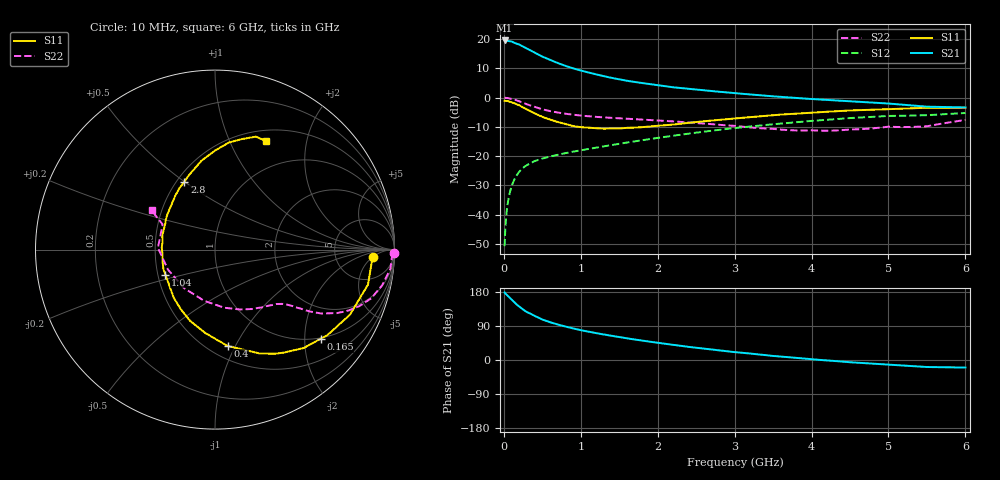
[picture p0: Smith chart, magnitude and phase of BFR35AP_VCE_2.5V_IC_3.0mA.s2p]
! Infineon Technologies  Discrete & RF Semiconductors
! BFR35AP
! VCE =  2.5 V,  IC =  3.0 mA
! Common Emitter S-Parameters:  Nov 2015
# GHz  S  MA  R  50
!  f  S11  S21  S12  S22
! GHz  MAG  ANG  MAG  ANG  MAG  ANG  MAG  ANG
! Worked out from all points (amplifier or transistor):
!   210 points, 10 MHz to 6 GHz, reference 50 ohm
!   highest |S21| = 19.5 dB at 10 MHz (marker M1)
!   |S21| within 3 dB of that: start of sweep to 313.4 MHz
!   unconditionally stable (mu >= 1): 968.7 MHz to 3.952 GHz; 5.316 GHz to 5.83 GHz
!   at 185 MHz: K = 0.28, MSG = 22.0 dB, |S12| = -25.9 dB
!   at 1.52 GHz: K = 1.15, MAG = 8.6 dB, |S12| = -15.7 dB
!   at 6 GHz: K = 0.99, MSG = 1.0 dB, |S12| = -5.3 dB
!   S11 on the Smith chart (normalised r, x): 10 MHz: 14, -5; 165 MHz: 0.98, -2.39; 400 MHz: 0.61, -0.93; 1.04 GHz: 0.55, -0.17; 2.8 GHz: 0.55, +0.50; 6 GHz: 0.63, +1.37
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0.01  0.8821 -2.7  9.428 178.1  0.0029 85.7  0.995 -1.2
0.02  0.8752 -5.3  9.304 175.5  0.0059 86.2  0.9866 -2.5
0.04  0.873 -10.4  9.277 171.5  0.0124 82.8  0.9836 -5.0
0.1  0.8348 -25.8  9.069 159.3  0.0304 75.9  0.9521 -12.1
0.15  0.7875 -37.1  8.47 149.1  0.0434 69.6  0.912 -17.3
0.165  0.77 -40.2  8.319 146.7  0.0466 68.0  0.897 -18.5
0.2  0.7385 -47.9  8.025 140.8  0.0542 65.1  0.8636 -21.4
0.26  0.6693 -60.1  7.309 131.7  0.0645 59.9  0.8031 -25.4
0.3  0.6301 -66.7  6.818 126.5  0.0703 57.5  0.7663 -27.5
0.4  0.5412 -82.6  5.828 116.2  0.0822 53.0  0.6918 -31.0
0.5  0.468 -96.6  5.001 106.8  0.0907 50.6  0.6292 -33.2
0.6  0.4206 -109.3  4.391 99.7  0.0983 49.4  0.585 -34.4
0.8  0.3533 -130.6  3.467 88.2  0.1123 48.2  0.5289 -36.3
1.02  0.3109 -151.4  2.845 78.0  0.1268 48.8  0.4895 -38.2
1.04  0.3095 -153.3  2.802 77.2  0.1282 48.9  0.4868 -38.5
1.4  0.2969 177.7  2.165 63.8  0.1539 49.8  0.4503 -43.0
2.02  0.3314 142.6  1.608 44.9  0.2064 49.3  0.4037 -53.5
2.8  0.4148 114.3  1.257 25.4  0.2816 44.6  0.3421 -73.8
3.1  0.4506 106.9  1.158 19.0  0.3106 41.5  0.3178 -84.6
4.1  0.5624 88.2  0.926 0.4  0.4078 30.1  0.272 -134.7
5.1  0.6394 75.2  0.771 -13.5  0.4869 15.9  0.3148 173.4
6  0.6683 65.0  0.678 -19.9  0.5444 5.4  0.4148 148.3
